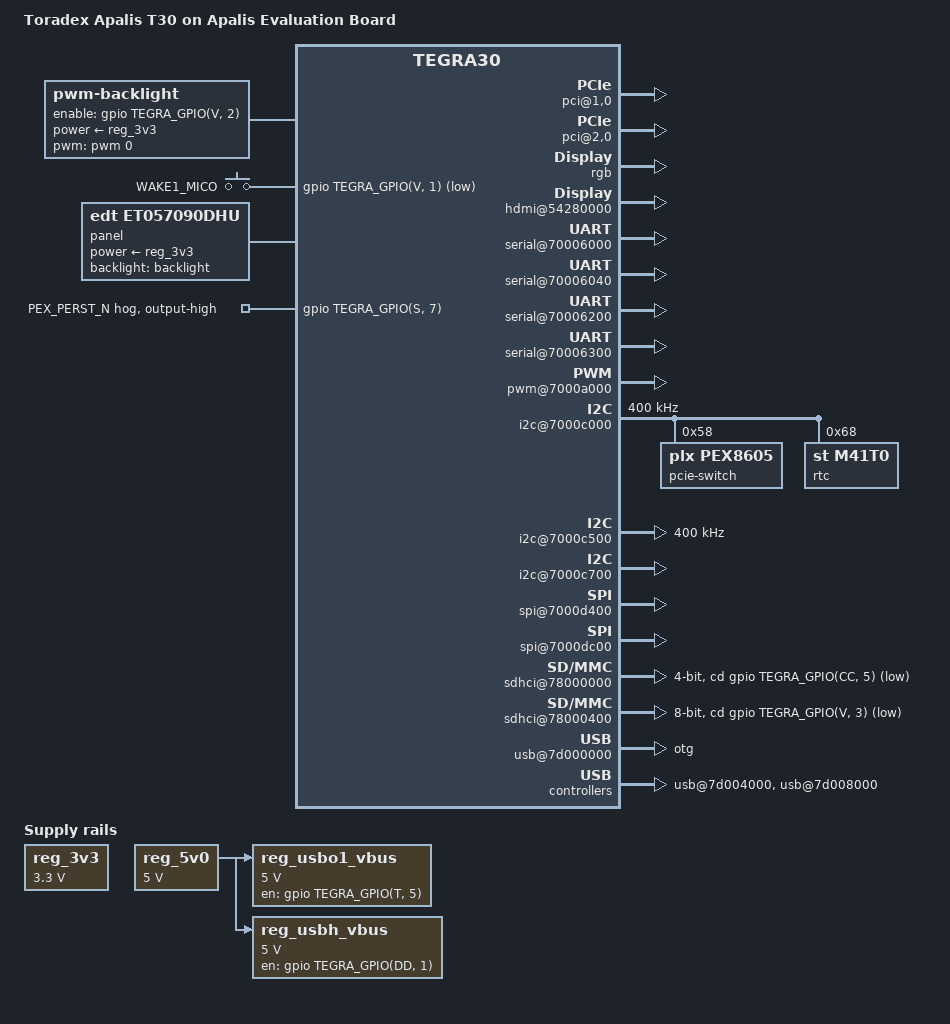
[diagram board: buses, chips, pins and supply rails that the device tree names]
// SPDX-License-Identifier: GPL-2.0
/dts-v1/;

#include <dt-bindings/input/input.h>
#include "tegra30-apalis.dtsi"

/ {
	model = "Toradex Apalis T30 on Apalis Evaluation Board";
	compatible = "toradex,apalis_t30-eval", "toradex,apalis_t30",
		     "nvidia,tegra30";

	aliases {
		rtc0 = "/i2c@7000c000/rtc@68";
		rtc1 = "/i2c@7000d000/pmic@2d";
		rtc2 = "/rtc@7000e000";
		serial0 = &uarta;
		serial1 = &uartb;
		serial2 = &uartc;
		serial3 = &uartd;
	};

	chosen {
		stdout-path = "serial0:115200n8";
	};

	pcie@3000 {
		pci@1,0 {
			status = "okay";
		};

		pci@2,0 {
			status = "okay";
		};
	};

	host1x@50000000 {
		dc@54200000 {
			rgb {
				status = "okay";
				nvidia,panel = <&panel>;
			};
		};

		hdmi@54280000 {
			status = "okay";
			hdmi-supply = <&reg_5v0>;
		};
	};

	/* Apalis UART1 */
	serial@70006000 {
		status = "okay";
	};

	/* Apalis UART2 */
	serial@70006040 {
		status = "okay";
	};

	/* Apalis UART3 */
	serial@70006200 {
		status = "okay";
	};

	/* Apalis UART4 */
	serial@70006300 {
		status = "okay";
	};

	pwm@7000a000 {
		status = "okay";
	};

	/*
	 * GEN1_I2C: I2C1_SDA/SCL on MXM3 pin 209/211 (e.g. RTC on carrier
	 * board)
	 */
	i2c@7000c000 {
		status = "okay";
		clock-frequency = <400000>;

		pcie-switch@58 {
			compatible = "plx,pex8605";
			reg = <0x58>;
		};

		/* M41T0M6 real time clock on carrier board */
		rtc@68 {
			compatible = "st,m41t0";
			reg = <0x68>;
		};
	};

	/* GEN2_I2C: unused */

	/*
	 * CAM_I2C: I2C3_SDA/SCL on MXM3 pin 201/203 (e.g. camera sensor on
	 * carrier board)
	 */
	i2c@7000c500 {
		status = "okay";
		clock-frequency = <400000>;
	};

	/* DDC: I2C2_SDA/SCL on MXM3 pin 205/207 (e.g. display EDID) */
	i2c@7000c700 {
		status = "okay";
	};

	/* SPI1: Apalis SPI1 */
	spi@7000d400 {
		status = "okay";
		spi-max-frequency = <25000000>;
	};

	/* SPI5: Apalis SPI2 */
	spi@7000dc00 {
		status = "okay";
		spi-max-frequency = <25000000>;
	};

	/* Apalis SD1 */
	sdhci@78000000 {
		status = "okay";
		bus-width = <4>;
		/* SD1_CD# */
		cd-gpios = <&gpio TEGRA_GPIO(CC, 5) GPIO_ACTIVE_LOW>;
		no-1-8-v;
	};

	/* Apalis MMC1 */
	sdhci@78000400 {
		status = "okay";
		bus-width = <8>;
		/* MMC1_CD# */
		cd-gpios = <&gpio TEGRA_GPIO(V, 3) GPIO_ACTIVE_LOW>;
		no-1-8-v;
	};

	/* EHCI instance 0: USB1_DP/N -> USBO1_DP/N */
	usb@7d000000 {
		status = "okay";
		dr_mode = "otg";
	};

	usb-phy@7d000000 {
		status = "okay";
		vbus-supply = <&reg_usbo1_vbus>;
	};

	/* EHCI instance 1: USB2_DP/N -> USBH2_DP/N */
	usb@7d004000 {
		status = "okay";
	};

	usb-phy@7d004000 {
		status = "okay";
		vbus-supply = <&reg_usbh_vbus>;
	};

	/* EHCI instance 2: USB3_DP/N -> USBH3_DP/N */
	usb@7d008000 {
		status = "okay";
	};

	usb-phy@7d008000 {
		status = "okay";
		vbus-supply = <&reg_usbh_vbus>;
	};

	backlight: backlight {
		compatible = "pwm-backlight";
		brightness-levels = <255 231 223 207 191 159 127 0>;
		default-brightness-level = <6>;
		/* BKL1_ON */
		enable-gpios = <&gpio TEGRA_GPIO(V, 2) GPIO_ACTIVE_HIGH>;
		power-supply = <&reg_3v3>;
		pwms = <&pwm 0 5000000>; /* BKL1_PWM */
	};

	gpio-keys {
		compatible = "gpio-keys";

		wakeup {
			label = "WAKE1_MICO";
			gpios = <&gpio TEGRA_GPIO(V, 1) GPIO_ACTIVE_LOW>;
			linux,code = <KEY_WAKEUP>;
			debounce-interval = <10>;
			wakeup-source;
		};
	};

	panel: panel {
		/*
		 * edt,et057090dhu: EDT 5.7" LCD TFT
		 * edt,et070080dh6: EDT 7.0" LCD TFT
		 */
		compatible = "edt,et057090dhu", "simple-panel";
		backlight = <&backlight>;
		power-supply = <&reg_3v3>;
	};

	reg_3v3: regulator-3v3 {
		compatible = "regulator-fixed";
		regulator-name = "3.3V_SW";
		regulator-min-microvolt = <3300000>;
		regulator-max-microvolt = <3300000>;
	};

	reg_5v0: regulator-5v0 {
		compatible = "regulator-fixed";
		regulator-name = "5V_SW";
		regulator-min-microvolt = <5000000>;
		regulator-max-microvolt = <5000000>;
	};

	/* USBO1_EN */
	reg_usbo1_vbus: regulator-usbo1-vbus {
		compatible = "regulator-fixed";
		regulator-name = "VCC_USBO1";
		regulator-min-microvolt = <5000000>;
		regulator-max-microvolt = <5000000>;
		gpio = <&gpio TEGRA_GPIO(T, 5) GPIO_ACTIVE_HIGH>;
		enable-active-high;
		vin-supply = <&reg_5v0>;
	};

	/* USBH_EN */
	reg_usbh_vbus: regulator-usbh-vbus {
		compatible = "regulator-fixed";
		regulator-name = "VCC_USBH(2A|2C|2D|3|4)";
		regulator-min-microvolt = <5000000>;
		regulator-max-microvolt = <5000000>;
		gpio = <&gpio TEGRA_GPIO(DD, 1) GPIO_ACTIVE_HIGH>;
		enable-active-high;
		vin-supply = <&reg_5v0>;
	};
};

&gpio {
	/* Apalis GPIO7 MXM3 pin 15 PLX PEX 8605 PCIe Switch Reset */
	pex-perst-n {
		gpio-hog;
		gpios = <TEGRA_GPIO(S, 7) GPIO_ACTIVE_HIGH>;
		output-high;
		line-name = "PEX_PERST_N";
	};
};
